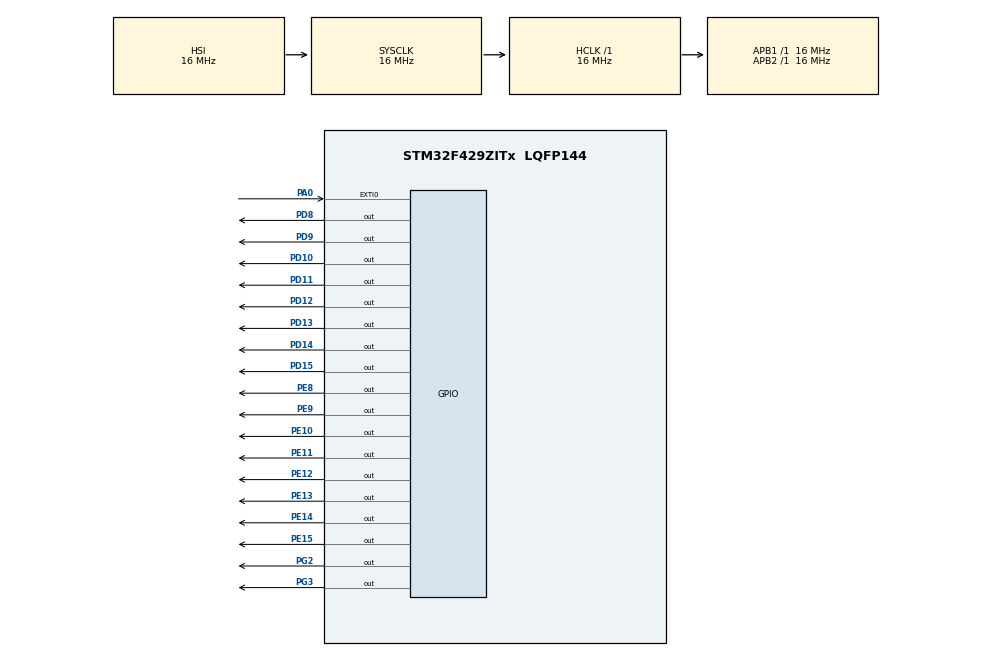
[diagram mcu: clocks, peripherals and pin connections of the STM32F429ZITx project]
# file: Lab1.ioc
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Mcu.Family=STM32F4
Mcu.Name=STM32F429ZITx
Mcu.Package=LQFP144
NVIC.EXTI0_IRQn=true\:0\:0\:false\:false\:true\:true\:true\:true
NVIC.PriorityGroup=NVIC_PRIORITYGROUP_4
PA0/WKUP.Signal=GPXTI0
PD10.Signal=GPIO_Output
PD11.Signal=GPIO_Output
PD12.Signal=GPIO_Output
PD13.Signal=GPIO_Output
PD14.Signal=GPIO_Output
PD15.Signal=GPIO_Output
PD8.Signal=GPIO_Output
PD9.Signal=GPIO_Output
PE10.Signal=GPIO_Output
PE11.Signal=GPIO_Output
PE12.Signal=GPIO_Output
PE13.Signal=GPIO_Output
PE14.Signal=GPIO_Output
PE15.Signal=GPIO_Output
PE8.Signal=GPIO_Output
PE9.Signal=GPIO_Output
PG2.Signal=GPIO_Output
PG3.Signal=GPIO_Output
ProjectManager.HeapSize=0x200
ProjectManager.StackSize=0x400
ProjectManager.TargetToolchain=STM32CubeIDE
RCC.AHBFreq_Value=16000000
RCC.APB1Freq_Value=16000000
RCC.APB2Freq_Value=16000000
RCC.CortexFreq_Value=16000000
RCC.HSE_VALUE=25000000
RCC.HSI_VALUE=16000000
RCC.LSE_VALUE=32768
RCC.SYSCLKFreq_VALUE=16000000
RCC.VCOOutputFreq_Value=192000000
board=custom

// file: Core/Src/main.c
/* USER CODE BEGIN Header */
/**
  ******************************************************************************
  * @file           : main.c
  * @brief          : Main program body
  ******************************************************************************
  * @attention
  *
  * Copyright (c) 2025 STMicroelectronics.
  * All rights reserved.
  *
  * This software is licensed under terms that can be found in the LICENSE file
  * in the root directory of this software component.
  * If no LICENSE file comes with this software, it is provided AS-IS.
  *
  ******************************************************************************
  */
/* USER CODE END Header */
#include "main.h"
#include "7seg.h"

/* USER CODE BEGIN PV */
int TIM6_Count;
unsigned char LED_Value;
unsigned char left_LED = 0b10000000;
unsigned char right_LED = 0b00000001;
/* USER CODE END PV */

void SystemClock_Config(void);
static void MX_GPIO_Init(void);

/* USER CODE BEGIN 0 */
int dem =0;
int mode =1;
//void reset_led(){
//	static uint8_t last_state = 0;
//	if(HAL_GPIO_ReadPin(GPIOA, GPIO_PIN_0) == GPIO_PIN_SET && last_state == 0){
//		mode = (mode % 4) + 1; // Tăng mode và quay lại 1 nếu vượt quá 4
//		LED_Value = (mode == 3) ? 0 : 1;
//	}
//	last_state = HAL_GPIO_ReadPin(GPIOA, GPIO_PIN_0);
//}

void DisplayLEDs(int mode)
{
	if(dem > 50) dem =0;
	else dem++;
	if (mode == 1 && dem == 50){
		LED_Value = (LED_Value >> 1) | (LED_Value << 7);
	}
	else if(mode ==2 && dem == 50){
		LED_Value = (LED_Value << 1) | (LED_Value >> 7);
	}
	else if(mode ==3 && dem == 50){
		LED_Value = LED_Value ^ 0b11111111;
	}
	else if (mode == 4 && dem == 50)
	{
		if(LED_Value == 0b10000001 && left_LED == 0b00000001){
			LED_Value = 0;
		}
		else{
			left_LED = (left_LED >> 1) | (left_LED << 7);
			right_LED = (right_LED << 1) | (right_LED >> 7);

			LED_Value = left_LED | right_LED;
		}

	}
	if (LED_Value & 0x80)
		HAL_GPIO_WritePin(GPIOD, GPIO_PIN_15, GPIO_PIN_SET);
	else
		HAL_GPIO_WritePin(GPIOD, GPIO_PIN_15, GPIO_PIN_RESET);
	if (LED_Value & 0x40)
		HAL_GPIO_WritePin(GPIOD, GPIO_PIN_14, GPIO_PIN_SET);
	else
		HAL_GPIO_WritePin(GPIOD, GPIO_PIN_14, GPIO_PIN_RESET);
	if (LED_Value & 0x20)
		HAL_GPIO_WritePin(GPIOD, GPIO_PIN_13, GPIO_PIN_SET);
	else
		HAL_GPIO_WritePin(GPIOD, GPIO_PIN_13, GPIO_PIN_RESET);
	if (LED_Value & 0x10)
		HAL_GPIO_WritePin(GPIOD, GPIO_PIN_12, GPIO_PIN_SET);
	else
		HAL_GPIO_WritePin(GPIOD, GPIO_PIN_12, GPIO_PIN_RESET);
	if (LED_Value & 0x8)
		HAL_GPIO_WritePin(GPIOD, GPIO_PIN_11, GPIO_PIN_SET);
	else
		HAL_GPIO_WritePin(GPIOD, GPIO_PIN_11, GPIO_PIN_RESET);
	if (LED_Value & 0x4)
		HAL_GPIO_WritePin(GPIOD, GPIO_PIN_10, GPIO_PIN_SET);
	else
		HAL_GPIO_WritePin(GPIOD, GPIO_PIN_10, GPIO_PIN_RESET);
	if (LED_Value & 0x2)
		HAL_GPIO_WritePin(GPIOD, GPIO_PIN_9, GPIO_PIN_SET);
	else
		HAL_GPIO_WritePin(GPIOD, GPIO_PIN_9, GPIO_PIN_RESET);
	if (LED_Value & 0x1)
		HAL_GPIO_WritePin(GPIOD, GPIO_PIN_8, GPIO_PIN_SET);
	else
		HAL_GPIO_WritePin(GPIOD, GPIO_PIN_8, GPIO_PIN_RESET);
}

/* USER CODE END 0 */

int main(void)
{

  /* MCU Configuration--------------------------------------------------------*/

  /* Reset of all peripherals, Initializes the Flash interface and the Systick. */
  HAL_Init();

  /* Configure the system clock */
  SystemClock_Config();

  /* Initialize all configured peripherals */
  MX_GPIO_Init();
  /* USER CODE BEGIN 2 */
  //HAL_TIM_Base_Start_IT(&htim6);
  int demSo =25;
  Set7SegDisplayValue(demSo);
  /* USER CODE END 2 */

  /* Infinite loop */
  /* USER CODE BEGIN WHILE */
  LED_Value = 1;

  while (1)
  {
    /* USER CODE END WHILE */
	  //reset_led();
	  HAL_Delay(5);
	  DisplayLEDs(mode);
	  Run7SegDisplay();
  }
}

void SystemClock_Config(void)
{
  RCC_OscInitTypeDef RCC_OscInitStruct = {0};
  RCC_ClkInitTypeDef RCC_ClkInitStruct = {0};

  /** Configure the main internal regulator output voltage
  */
  __HAL_RCC_PWR_CLK_ENABLE();
  __HAL_PWR_VOLTAGESCALING_CONFIG(PWR_REGULATOR_VOLTAGE_SCALE3);

  /** Initializes the RCC Oscillators according to the specified parameters
  * in the RCC_OscInitTypeDef structure.
  */
  RCC_OscInitStruct.OscillatorType = RCC_OSCILLATORTYPE_HSI;
  RCC_OscInitStruct.HSIState = RCC_HSI_ON;
  RCC_OscInitStruct.HSICalibrationValue = RCC_HSICALIBRATION_DEFAULT;
  RCC_OscInitStruct.PLL.PLLState = RCC_PLL_NONE;
  if (HAL_RCC_OscConfig(&RCC_OscInitStruct) != HAL_OK)
  {
    Error_Handler();
  }

  /** Initializes the CPU, AHB and APB buses clocks
  */
  RCC_ClkInitStruct.ClockType = RCC_CLOCKTYPE_HCLK|RCC_CLOCKTYPE_SYSCLK
                              |RCC_CLOCKTYPE_PCLK1|RCC_CLOCKTYPE_PCLK2;
  RCC_ClkInitStruct.SYSCLKSource = RCC_SYSCLKSOURCE_HSI;
  RCC_ClkInitStruct.AHBCLKDivider = RCC_SYSCLK_DIV1;
  RCC_ClkInitStruct.APB1CLKDivider = RCC_HCLK_DIV1;
  RCC_ClkInitStruct.APB2CLKDivider = RCC_HCLK_DIV1;

  if (HAL_RCC_ClockConfig(&RCC_ClkInitStruct, FLASH_LATENCY_0) != HAL_OK)
  {
    Error_Handler();
  }
}

static void MX_GPIO_Init(void)
{
  GPIO_InitTypeDef GPIO_InitStruct = {0};

  /* GPIO Ports Clock Enable */
  __HAL_RCC_GPIOA_CLK_ENABLE();
  __HAL_RCC_GPIOE_CLK_ENABLE();
  __HAL_RCC_GPIOD_CLK_ENABLE();
  __HAL_RCC_GPIOG_CLK_ENABLE();

  /*Configure GPIO pin Output Level */
  HAL_GPIO_WritePin(GPIOE, GPIO_PIN_8|GPIO_PIN_9|GPIO_PIN_10|GPIO_PIN_11
                          |GPIO_PIN_12|GPIO_PIN_13|GPIO_PIN_14|GPIO_PIN_15, GPIO_PIN_RESET);

  /*Configure GPIO pin Output Level */
  HAL_GPIO_WritePin(GPIOD, GPIO_PIN_8|GPIO_PIN_9|GPIO_PIN_10|GPIO_PIN_11
                          |GPIO_PIN_12|GPIO_PIN_13|GPIO_PIN_14|GPIO_PIN_15, GPIO_PIN_RESET);

  /*Configure GPIO pin Output Level */
  HAL_GPIO_WritePin(GPIOG, GPIO_PIN_2|GPIO_PIN_3, GPIO_PIN_RESET);

  /*Configure GPIO pin : PA0 */
  GPIO_InitStruct.Pin = GPIO_PIN_0;
  GPIO_InitStruct.Mode = GPIO_MODE_IT_RISING;
  GPIO_InitStruct.Pull = GPIO_NOPULL;
  HAL_GPIO_Init(GPIOA, &GPIO_InitStruct);

  /*Configure GPIO pins : PE8 PE9 PE10 PE11
                           PE12 PE13 PE14 PE15 */
  GPIO_InitStruct.Pin = GPIO_PIN_8|GPIO_PIN_9|GPIO_PIN_10|GPIO_PIN_11
                          |GPIO_PIN_12|GPIO_PIN_13|GPIO_PIN_14|GPIO_PIN_15;
  GPIO_InitStruct.Mode = GPIO_MODE_OUTPUT_PP;
  GPIO_InitStruct.Pull = GPIO_NOPULL;
  GPIO_InitStruct.Speed = GPIO_SPEED_FREQ_LOW;
  HAL_GPIO_Init(GPIOE, &GPIO_InitStruct);

  /*Configure GPIO pins : PD8 PD9 PD10 PD11
                           PD12 PD13 PD14 PD15 */
  GPIO_InitStruct.Pin = GPIO_PIN_8|GPIO_PIN_9|GPIO_PIN_10|GPIO_PIN_11
                          |GPIO_PIN_12|GPIO_PIN_13|GPIO_PIN_14|GPIO_PIN_15;
  GPIO_InitStruct.Mode = GPIO_MODE_OUTPUT_PP;
  GPIO_InitStruct.Pull = GPIO_NOPULL;
  GPIO_InitStruct.Speed = GPIO_SPEED_FREQ_LOW;
  HAL_GPIO_Init(GPIOD, &GPIO_InitStruct);

  /*Configure GPIO pins : PG2 PG3 */
  GPIO_InitStruct.Pin = GPIO_PIN_2|GPIO_PIN_3;
  GPIO_InitStruct.Mode = GPIO_MODE_OUTPUT_PP;
  GPIO_InitStruct.Pull = GPIO_NOPULL;
  GPIO_InitStruct.Speed = GPIO_SPEED_FREQ_LOW;
  HAL_GPIO_Init(GPIOG, &GPIO_InitStruct);

  /* EXTI interrupt init*/
  HAL_NVIC_SetPriority(EXTI0_IRQn, 0, 0);
  HAL_NVIC_EnableIRQ(EXTI0_IRQn);

}

void Error_Handler(void)
{
  __disable_irq();
  while (1)
  {
  }
}
